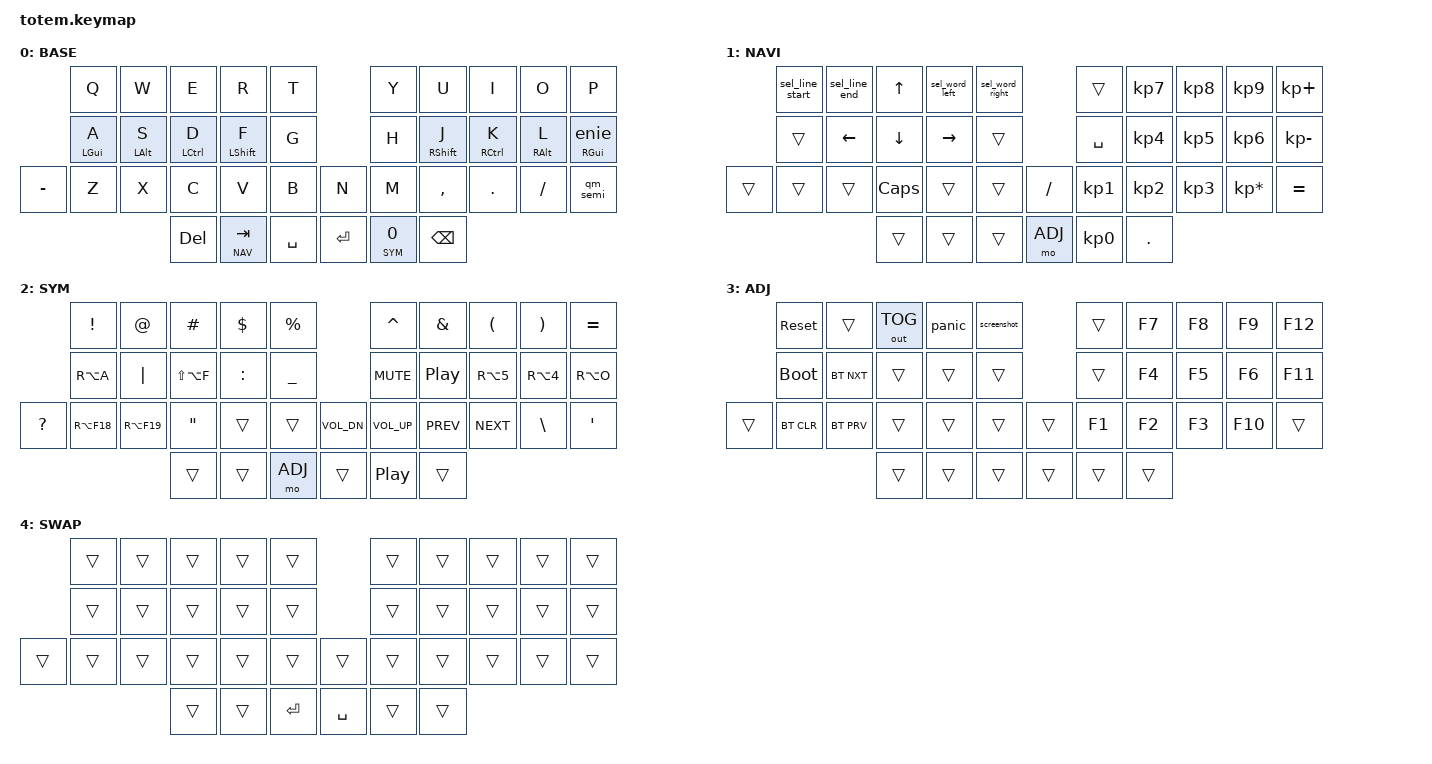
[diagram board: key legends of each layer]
//
//                                                         ▀▀▀▀▀     ▀▀▀▀▀          ▀▀█▀▀
//                                                         ▄▀▀▀▄  ▄  ▄▀▀▀▄  ▄  ▄▀▀▀▄  █  ▄▀▀▀▄
//                                                         █   █  █  █   █  █  █   █  █  █   █
//                                                          ▀▀▀   █   ▀▀▀   █   ▀▀▀   ▀   ▀▀▀
//                                                                █      ▄▄▄█▄▄▄    █   █  
//                                                                ▀      █  █  █     █▄█
//                                                              ▀▀▀▀▀    █  █  █      ▀
//                                                                       ▀  ▀  ▀
//
// ▄▄▄▄▄▄▄▄▄▄▄▄▄▄▄▄▄▄▄▄▄▄▄▄▄▄▄▄▄▄▄▄▄▄▄▄▄▄▄▄▄▄▄▄▄▄▄▄▄▄▄▄▄▄▄▄▄▄▄▄▄▄▄▄▄▄▄▄▄▄▄▄▄▄▄▄▄▄▄▄▄▄▄▄▄▄▄▄▄▄▄▄▄▄▄▄▄▄▄▄▄▄▄▄▄▄▄▄▄▄▄▄▄▄▄▄▄▄▄▄▄▄▄▄▄▄▄▄▄▄▄▄▄▄▄▄▄▄▄▄▄▄▄▄▄▄▄▄▄
#include <behaviors.dtsi>
#include <dt-bindings/zmk/bt.h>
#include <dt-bindings/zmk/keys.h>
#include <dt-bindings/zmk/outputs.h>

#define BASE 0
#define NAV  1
#define SYM  2
#define ADJ  3
#define SWAP 4

&mt {
    quick-tap-ms = <150>;
    global-quick-tap;
    flavor = "tap-preferred";
    tapping-term-ms = <220>;
};

/ {
    behaviors {
        qm_semi: question_semicolon {
            compatible = "zmk,behavior-mod-morph";
            #binding-cells = <0>;
            bindings = <&kp QUESTION>, <&kp SEMI>;
            mods = <(MOD_LSFT|MOD_RSFT)>;
        };

        enie_cmd: enie_command {
            compatible = "zmk,behavior-hold-tap";
            #binding-cells = <2>;
            flavor = "tap-preferred";
            tapping-term-ms = <220>;
            quick-tap-ms = <150>;
            bindings = <&kp>, <&enie>;
        };
    };

    combos {
        compatible = "zmk,combos";

        combo_esc {
            timeout-ms = <50>;
            key-positions = <0 1>;
            bindings = <&kp ESC>;
        };

        bacskpace {
            bindings = <&kp BACKSPACE>;
            key-positions = <9 8>;
        };

        l-brace {
            bindings = <&kp LBRC>; // English layout: direct { keycode
            key-positions = <1 2 3>;
        };

        r-brace {
            bindings = <&kp RBRC>; // English layout: direct } keycode
            key-positions = <6 7 8>;
        };

        l-bracket {
            bindings = <&kp LBKT>; // English layout: direct [ keycode
            key-positions = <11 12 13>;
        };

        r-bracket {
            bindings = <&kp RBKT>; // English layout: direct ] keycode
            key-positions = <16 17 18>;
        };

        l-parenth {
            bindings = <&kp LPAR>; // English layout: direct ( keycode
            key-positions = <22 23 24>;
        };

        r-parenth {
            bindings = <&kp RPAR>; // English layout: direct ) keycode
            key-positions = <27 28 29>;
        };

        // JavaScript symbols - frequent use
        js-backtick {
            bindings = <&kp GRAVE>; // ` for template literals
            key-positions = <1 2>; // W+E combo  
        };

        acute_combo {
            bindings = <&acute>;
            key-positions = <2 3>; // E+R combo for ´ (acute accent)
            timeout-ms = <25>;
            layers = <0>;
        };

        cmd_apos_combo {
            bindings = <&kp LG(APOS)>; // Command + ' 
            key-positions = <35 36>; // ENTER + SYM/0 combo on thumb cluster
            timeout-ms = <50>;
        };

        toggle_swap {
            bindings = <&tog SWAP>;
            key-positions = <32 37>; // DEL + BSPC to toggle SPACE/RETURN swap
            timeout-ms = <50>;
        };

        opt_shift_f {
            bindings = <&kp LS(LA(F))>;
            key-positions = <12 36>; // D + SYM/0 combo
            timeout-ms = <50>;
        };
    };

    macros {
        // NOTE: gif macro commented out - has bug (releases LSHFT instead of LALT)
        // gif: gif {
        //     label = "giphy";
        //     compatible = "zmk,behavior-macro";
        //     #binding-cells = <0>;
        //     bindings =
        //         <&macro_press>,
        //         <&kp LALT>,
        //         <&macro_tap>,
        //         <&kp TILDE>,
        //         <&macro_release>,
        //         <&kp LSHFT>,
        //         <&macro_tap>,
        //         <&kp G &kp I &kp F>;
        // };

        enie: enie {
            compatible = "zmk,behavior-macro";
            #binding-cells = <0>;
            bindings =
                <&macro_press>,
                <&kp LALT>,
                <&macro_tap>,
                <&kp N>,
                <&macro_release>,
                <&kp LALT>,
                <&macro_tap>,
                <&kp N>;
            label = "ENIE";
        };

        acute: acute_accent {
            compatible = "zmk,behavior-macro";
            #binding-cells = <0>;
            wait-ms = <0>;
            tap-ms = <0>;
            bindings =
                <&macro_press>,
                <&kp RALT>,
                <&macro_tap>,
                <&kp E>,
                <&macro_release>,
                <&kp RALT>;
            label = "ACUTE_ACCENT";
        };

        screenshot: screenshot {
            compatible = "zmk,behavior-macro";
            #binding-cells = <0>;
            wait-ms = <10>;
            tap-ms = <10>;
            bindings =
                <&macro_press>,
                <&kp LGUI &kp LSHFT>,
                <&macro_tap>,
                <&kp N5>,
                <&macro_release>,
                <&kp LGUI &kp LSHFT>;
            label = "SCREENSHOT";
        };

        panic: panic {
            compatible = "zmk,behavior-macro";
            #binding-cells = <0>;
            bindings =
                <&macro_release>,
                <&kp LGUI &kp LALT &kp LCTRL &kp LSHFT>;
            label = "PANIC";
        };

        sel_word_left: select_word_left {
            compatible = "zmk,behavior-macro";
            #binding-cells = <0>;
            wait-ms = <10>;
            tap-ms = <10>;
            bindings =
                <&macro_press>,
                <&kp LSHFT &kp LALT>,
                <&macro_tap>,
                <&kp LEFT>,
                <&macro_release>,
                <&kp LSHFT &kp LALT>;
            label = "SELECT_WORD_LEFT";
        };

        sel_word_right: select_word_right {
            compatible = "zmk,behavior-macro";
            #binding-cells = <0>;
            wait-ms = <10>;
            tap-ms = <10>;
            bindings =
                <&macro_press>,
                <&kp LSHFT &kp LALT>,
                <&macro_tap>,
                <&kp RIGHT>,
                <&macro_release>,
                <&kp LSHFT &kp LALT>;
            label = "SELECT_WORD_RIGHT";
        };

        sel_line_start: select_to_line_start {
            compatible = "zmk,behavior-macro";
            #binding-cells = <0>;
            wait-ms = <10>;
            tap-ms = <10>;
            bindings =
                <&macro_press>,
                <&kp LSHFT &kp LGUI>,
                <&macro_tap>,
                <&kp LEFT>,
                <&macro_release>,
                <&kp LSHFT &kp LGUI>;
            label = "SELECT_LINE_START";
        };

        sel_line_end: select_to_line_end {
            compatible = "zmk,behavior-macro";
            #binding-cells = <0>;
            wait-ms = <10>;
            tap-ms = <10>;
            bindings =
                <&macro_press>,
                <&kp LSHFT &kp LGUI>,
                <&macro_tap>,
                <&kp RIGHT>,
                <&macro_release>,
                <&kp LSHFT &kp LGUI>;
            label = "SELECT_LINE_END";
        };
    };

    keymap {
        compatible = "zmk,keymap";

        // ▄▄▄▄▄▄▄▄▄▄▄▄▄▄▄▄▄▄▄▄▄▄▄▄▄▄▄▄▄▄▄▄▄▄▄▄▄▄▄▄▄▄▄▄▄▄▄▄▄▄▄▄▄▄▄▄▄▄▄▄▄▄▄▄▄▄▄▄▄▄▄▄▄▄▄▄▄▄▄▄▄▄▄▄▄▄▄▄▄▄▄▄▄▄▄▄▄▄▄▄▄▄▄▄▄▄▄▄▄▄▄▄▄▄▄▄▄▄▄▄▄▄▄▄▄▄▄▄▄▄▄▄▄▄▄▄▄▄▄▄▄▄▄▄▄▄▄▄▄

        base_layer {
            // ┏━━━━━━━━━━━━━━━━━━━━━━━━━━━━━━━━━━━━━━━┓
            label = "BASE";
            // ┗━━━━━━━━━━━━━━━━━━━━━━━━━━━━━━━━━━━━━━━┛
            //             ┏━━━━━━━━━━━┳━━━━━━━━━━━┳━━━━━━━━━━━┳━━━━━━━━━━━┳━━━━━━━━━━━┓   ┏━━━━━━━━━━━┳━━━━━━━━━━━┳━━━━━━━━━━━┳━━━━━━━━━━━┳━━━━━━━━━━━┓
            //             ┃     Q     ┃     W     ┃     E     ┃     R     ┃     T     ┃   ┃     Y     ┃     U     ┃     I     ┃     O     ┃     P     ┃
            //             ┣━━━━━━━━━━━╋━━━━━━━━━━━╋━━━━━━━━━━━╋━━━━━━━━━━━╋━━━━━━━━━━━┫   ┣━━━━━━━━━━━╋━━━━━━━━━━━╋━━━━━━━━━━━╋━━━━━━━━━━━╋━━━━━━━━━━━┫
            //             ┃  GUI/A    ┃  ALT/S    ┃  CTL/D    ┃  SFT/F    ┃     G     ┃   ┃     H     ┃  SFT/J    ┃  CTL/K    ┃  ALT/L    ┃  CMD/Ñ    ┃
            // ┏━━━━━━━━━━━╋━━━━━━━━━━━╋━━━━━━━━━━━╋━━━━━━━━━━━╋━━━━━━━━━━━╋━━━━━━━━━━━┫   ┣━━━━━━━━━━━╋━━━━━━━━━━━╋━━━━━━━━━━━╋━━━━━━━━━━━╋━━━━━━━━━━━╋━━━━━━━━━━━┓
            // ┃     -     ┃     Z     ┃     X     ┃     C     ┃     V     ┃     B     ┃   ┃     N     ┃     M     ┃     ,     ┃     .     ┃     /     ┃   ? / ;   ┃
            // ┗━━━━━━━━━━━┻━━━━━━━━━━━┻━━━━━━━━━━━╋━━━━━━━━━━━╋━━━━━━━━━━━╋━━━━━━━━━━━┫   ┣━━━━━━━━━━━╋━━━━━━━━━━━╋━━━━━━━━━━━╋━━━━━━━━━━━┻━━━━━━━━━━━┻━━━━━━━━━━━┛
            //                                     ┃    DEL    ┃  NAV/TAB  ┃    SPC    ┃   ┃   ENTER   ┃   SYM/0   ┃   BSPC    ┃
            //                                     ┗━━━━━━━━━━━┻━━━━━━━━━━━┻━━━━━━━━━━━┛   ┗━━━━━━━━━━━┻━━━━━━━━━━━┻━━━━━━━━━━━┛

            bindings = <
           &kp Q       &kp W           &kp E        &kp R        &kp T        &kp Y    &kp U              &kp I        &kp O                &kp P
           &mt LGUI A  &mt LEFT_ALT S  &mt LCTRL D  &mt LSHFT F  &kp G        &kp H    &mt RSHFT J        &mt RCTRL K  &mt RALT L           &enie_cmd RGUI 0
&kp MINUS  &kp Z       &kp X           &kp C        &kp V        &kp B        &kp N    &kp M              &kp COMMA    &kp DOT     &kp FSLH  &qm_semi
                                       &kp DEL      &lt NAV TAB  &kp SPACE    &kp RET  &lt SYM NUMBER_0  &kp BSPC
            >;
        };

        // ▄▄▄▄▄▄▄▄▄▄▄▄▄▄▄▄▄▄▄▄▄▄▄▄▄▄▄▄▄▄▄▄▄▄▄▄▄▄▄▄▄▄▄▄▄▄▄▄▄▄▄▄▄▄▄▄▄▄▄▄▄▄▄▄▄▄▄▄▄▄▄▄▄▄▄▄▄▄▄▄▄▄▄▄▄▄▄▄▄▄▄▄▄▄▄▄▄▄▄▄▄▄▄▄▄▄▄▄▄▄▄▄▄▄▄▄▄▄▄▄▄▄▄▄▄▄▄▄▄▄▄▄▄▄▄▄▄▄▄▄▄▄▄▄▄▄▄▄▄

        nav_layer {
            // ┏━━━━━━━━━━━━━━━━━━━━━━━━━━━━━━━━━━━━━━━┓
            label = "NAVI";
            // ┗━━━━━━━━━━━━━━━━━━━━━━━━━━━━━━━━━━━━━━━┛
            //             ┏━━━━━━━━━━━┳━━━━━━━━━━━┳━━━━━━━━━━━┳━━━━━━━━━━━┳━━━━━━━━━━━┓   ┏━━━━━━━━━━━┳━━━━━━━━━━━┳━━━━━━━━━━━┳━━━━━━━━━━━┳━━━━━━━━━━━┓
            //             ┃  SEL LIN  ┃  SEL LIN  ┃     UP    ┃  SEL WRD  ┃  SEL WRD  ┃   ┃   TRANS   ┃     7     ┃     8     ┃     9     ┃  KP_PLUS  ┃
            //             ┃   START   ┃    END    ┃           ┃   LEFT    ┃   RIGHT   ┃   ┃           ┃           ┃           ┃           ┃           ┃
            //             ┣━━━━━━━━━━━╋━━━━━━━━━━━╋━━━━━━━━━━━╋━━━━━━━━━━━╋━━━━━━━━━━━┫   ┣━━━━━━━━━━━╋━━━━━━━━━━━╋━━━━━━━━━━━╋━━━━━━━━━━━╋━━━━━━━━━━━┫
            //             ┃   TRANS   ┃   LEFT    ┃    DOWN   ┃   RIGHT   ┃   TRANS   ┃   ┃   SPACE   ┃     4     ┃     5     ┃     6     ┃ KP_MINUS  ┃
            // ┏━━━━━━━━━━━╋━━━━━━━━━━━╋━━━━━━━━━━━╋━━━━━━━━━━━╋━━━━━━━━━━━╋━━━━━━━━━━━┫   ┣━━━━━━━━━━━╋━━━━━━━━━━━╋━━━━━━━━━━━╋━━━━━━━━━━━╋━━━━━━━━━━━╋━━━━━━━━━━━┓
            // ┃   TRANS   ┃   TRANS   ┃   TRANS   ┃   CAPS    ┃   TRANS   ┃   TRANS   ┃   ┃     /     ┃     1     ┃     2     ┃     3     ┃KP_MULTIPLY┃     =     ┃
            // ┗━━━━━━━━━━━┻━━━━━━━━━━━┻━━━━━━━━━━━╋━━━━━━━━━━━╋━━━━━━━━━━━╋━━━━━━━━━━━┫   ┣━━━━━━━━━━━╋━━━━━━━━━━━╋━━━━━━━━━━━╋━━━━━━━━━━━┻━━━━━━━━━━━┻━━━━━━━━━━━┛
            //                                     ┃   TRANS   ┃   TRANS   ┃   TRANS   ┃   ┃  ADJ LYR  ┃     0     ┃     .     ┃
            //                                     ┗━━━━━━━━━━━┻━━━━━━━━━━━┻━━━━━━━━━━━┛   ┗━━━━━━━━━━━┻━━━━━━━━━━━┻━━━━━━━━━━━┛

            bindings = <
        &sel_line_start  &sel_line_end  &kp UP    &sel_word_left  &sel_word_right    &trans     &kp KP_N7  &kp KP_N8  &kp KP_N9  &kp KP_PLUS
        &trans           &kp LEFT       &kp DOWN  &kp RIGHT       &trans             &kp SPACE  &kp KP_N4  &kp KP_N5  &kp KP_N6  &kp KP_MINUS
&trans  &trans           &trans         &kp CAPS  &trans          &trans             &kp FSLH   &kp KP_N1  &kp KP_N2  &kp KP_N3  &kp KP_MULTIPLY  &kp EQUAL
                                        &trans    &trans          &trans             &mo ADJ    &kp KP_N0  &kp DOT
            >;
        };

        // ▄▄▄▄▄▄▄▄▄▄▄▄▄▄▄▄▄▄▄▄▄▄▄▄▄▄▄▄▄▄▄▄▄▄▄▄▄▄▄▄▄▄▄▄▄▄▄▄▄▄▄▄▄▄▄▄▄▄▄▄▄▄▄▄▄▄▄▄▄▄▄▄▄▄▄▄▄▄▄▄▄▄▄▄▄▄▄▄▄▄▄▄▄▄▄▄▄▄▄▄▄▄▄▄▄▄▄▄▄▄▄▄▄▄▄▄▄▄▄▄▄▄▄▄▄▄▄▄▄▄▄▄▄▄▄▄▄▄▄▄▄▄▄▄▄▄▄▄▄

        sym_layer {
            // ┏━━━━━━━━━━━━━━━━━━━━━━━━━━━━━━━━━━━━━━━┓
            label = "SYM";
            // ┗━━━━━━━━━━━━━━━━━━━━━━━━━━━━━━━━━━━━━━━┛
            //             ┏━━━━━━━━━━━┳━━━━━━━━━━━┳━━━━━━━━━━━┳━━━━━━━━━━━┳━━━━━━━━━━━┓   ┏━━━━━━━━━━━┳━━━━━━━━━━━┳━━━━━━━━━━━┳━━━━━━━━━━━┳━━━━━━━━━━━┓
            //             ┃     !     ┃     @     ┃     #     ┃     $     ┃     %     ┃   ┃     ^     ┃     &     ┃     (     ┃     )     ┃     =     ┃
            //             ┣━━━━━━━━━━━╋━━━━━━━━━━━╋━━━━━━━━━━━╋━━━━━━━━━━━╋━━━━━━━━━━━┫   ┣━━━━━━━━━━━╋━━━━━━━━━━━╋━━━━━━━━━━━╋━━━━━━━━━━━╋━━━━━━━━━━━┫
            //             ┃     Ä     ┃     |     ┃     ß     ┃     :     ┃     _     ┃   ┃   MUTE    ┃  PLAY/PS  ┃    EUR    ┃    GBP    ┃     Ö     ┃
            // ┏━━━━━━━━━━━╋━━━━━━━━━━━╋━━━━━━━━━━━╋━━━━━━━━━━━╋━━━━━━━━━━━╋━━━━━━━━━━━┫   ┣━━━━━━━━━━━╋━━━━━━━━━━━╋━━━━━━━━━━━╋━━━━━━━━━━━╋━━━━━━━━━━━╋━━━━━━━━━━━┓
            // ┃     ?     ┃  EMAIL1   ┃  EMAIL2   ┃     "     ┃   TRANS   ┃   TRANS   ┃   ┃   VOL-    ┃   VOL+    ┃   PREV    ┃   NEXT    ┃     \     ┃     '     ┃
            // ┗━━━━━━━━━━━┻━━━━━━━━━━━┻━━━━━━━━━━━╋━━━━━━━━━━━╋━━━━━━━━━━━╋━━━━━━━━━━━┫   ┣━━━━━━━━━━━╋━━━━━━━━━━━╋━━━━━━━━━━━╋━━━━━━━━━━━┻━━━━━━━━━━━┻━━━━━━━━━━━┛
            //                                     ┃   TRANS   ┃   TRANS   ┃  ADJ LYR  ┃   ┃   TRANS   ┃  PLAY/PS  ┃   TRANS   ┃
            //                                     ┗━━━━━━━━━━━┻━━━━━━━━━━━┻━━━━━━━━━━━┛   ┗━━━━━━━━━━━┻━━━━━━━━━━━┻━━━━━━━━━━━┛

            bindings = <
              &kp EXCL     &kp AT       &kp HASH       &kp DLLR   &kp PRCNT    &kp CARET     &kp AMPS          &kp LEFT_PARENTHESIS  &kp RIGHT_PARENTHESIS  &kp EQUAL
              &kp RA(A)    &kp PIPE     &kp LS(LA(F))  &kp COLON  &kp UNDER    &kp C_MUTE    &kp C_PLAY_PAUSE  &kp RA(N5)            &kp RA(N4)             &kp RA(O)
&kp QUESTION  &kp RA(F18)  &kp RA(F19)  &kp DQT        &trans     &trans       &kp C_VOL_DN  &kp C_VOL_UP      &kp C_PREV            &kp C_NEXT             &kp BSLH   &kp APOS
                                        &trans         &trans     &mo ADJ      &trans        &kp C_PP          &trans
            >;
        };

        // ▄▄▄▄▄▄▄▄▄▄▄▄▄▄▄▄▄▄▄▄▄▄▄▄▄▄▄▄▄▄▄▄▄▄▄▄▄▄▄▄▄▄▄▄▄▄▄▄▄▄▄▄▄▄▄▄▄▄▄▄▄▄▄▄▄▄▄▄▄▄▄▄▄▄▄▄▄▄▄▄▄▄▄▄▄▄▄▄▄▄▄▄▄▄▄▄▄▄▄▄▄▄▄▄▄▄▄▄▄▄▄▄▄▄▄▄▄▄▄▄▄▄▄▄▄▄▄▄▄▄▄▄▄▄▄▄▄▄▄▄▄▄▄▄▄▄▄▄▄

        adjust_layer {
            // ┏━━━━━━━━━━━━━━━━━━━━━━━━━━━━━━━━━━━━━━━┓
            label = "ADJ";
            // ┗━━━━━━━━━━━━━━━━━━━━━━━━━━━━━━━━━━━━━━━┛
            //             ┏━━━━━━━━━━━┳━━━━━━━━━━━┳━━━━━━━━━━━┳━━━━━━━━━━━┳━━━━━━━━━━━┓   ┏━━━━━━━━━━━┳━━━━━━━━━━━┳━━━━━━━━━━━┳━━━━━━━━━━━┳━━━━━━━━━━━┓
            //             ┃ SYS RESET ┃   TRANS   ┃  OUT TOG  ┃   PANIC   ┃ SCRN SHOT ┃   ┃   TRANS   ┃    F7     ┃    F8     ┃    F9     ┃    F12    ┃
            //             ┣━━━━━━━━━━━╋━━━━━━━━━━━╋━━━━━━━━━━━╋━━━━━━━━━━━╋━━━━━━━━━━━┫   ┣━━━━━━━━━━━╋━━━━━━━━━━━╋━━━━━━━━━━━╋━━━━━━━━━━━╋━━━━━━━━━━━┫
            //             ┃ BOOTLOAD  ┃  BT NEXT  ┃   TRANS   ┃   TRANS   ┃   TRANS   ┃   ┃   TRANS   ┃    F4     ┃    F5     ┃    F6     ┃    F11    ┃
            // ┏━━━━━━━━━━━╋━━━━━━━━━━━╋━━━━━━━━━━━╋━━━━━━━━━━━╋━━━━━━━━━━━╋━━━━━━━━━━━┫   ┣━━━━━━━━━━━╋━━━━━━━━━━━╋━━━━━━━━━━━╋━━━━━━━━━━━╋━━━━━━━━━━━╋━━━━━━━━━━━┓
            // ┃   TRANS   ┃ BT CLEAR  ┃  BT PREV  ┃   TRANS   ┃   TRANS   ┃   TRANS   ┃   ┃   TRANS   ┃    F1     ┃    F2     ┃    F3     ┃    F10    ┃   TRANS   ┃
            // ┗━━━━━━━━━━━┻━━━━━━━━━━━┻━━━━━━━━━━━╋━━━━━━━━━━━╋━━━━━━━━━━━╋━━━━━━━━━━━┫   ┣━━━━━━━━━━━╋━━━━━━━━━━━╋━━━━━━━━━━━╋━━━━━━━━━━━┻━━━━━━━━━━━┻━━━━━━━━━━━┛
            //                                     ┃   TRANS   ┃   TRANS   ┃   TRANS   ┃   ┃   TRANS   ┃   TRANS   ┃   TRANS   ┃
            //                                     ┗━━━━━━━━━━━┻━━━━━━━━━━━┻━━━━━━━━━━━┛   ┗━━━━━━━━━━━┻━━━━━━━━━━━┻━━━━━━━━━━━┛

            bindings = <
        &sys_reset   &trans      &out OUT_TOG  &panic  &screenshot    &trans  &kp F7  &kp F8  &kp F9  &kp F12
        &bootloader  &bt BT_NXT  &trans        &trans  &trans         &trans  &kp F4  &kp F5  &kp F6  &kp F11
&trans  &bt BT_CLR   &bt BT_PRV  &trans        &trans  &trans         &trans  &kp F1  &kp F2  &kp F3  &kp F10  &trans
                                 &trans        &trans  &trans    &trans  &trans  &trans
            >;
        };

        // ▄▄▄▄▄▄▄▄▄▄▄▄▄▄▄▄▄▄▄▄▄▄▄▄▄▄▄▄▄▄▄▄▄▄▄▄▄▄▄▄▄▄▄▄▄▄▄▄▄▄▄▄▄▄▄▄▄▄▄▄▄▄▄▄▄▄▄▄▄▄▄▄▄▄▄▄▄▄▄▄▄▄▄▄▄▄▄▄▄▄▄▄▄▄▄▄▄▄▄▄▄▄▄▄▄▄▄▄▄▄▄▄▄▄▄▄▄▄▄▄▄▄▄▄▄▄▄▄▄▄▄▄▄▄▄▄▄▄▄▄▄▄▄▄▄▄▄▄▄

        swap_layer {
            // ┏━━━━━━━━━━━━━━━━━━━━━━━━━━━━━━━━━━━━━━━┓
            label = "SWAP";
            // ┗━━━━━━━━━━━━━━━━━━━━━━━━━━━━━━━━━━━━━━━┛
            // TEST LAYER: Swaps SPACE (pos 34) and RETURN (pos 35)
            // Toggle with DEL + BSPC combo
            // All other keys fall through to BASE layer

            bindings = <
        &trans  &trans  &trans  &trans  &trans    &trans  &trans  &trans  &trans  &trans
        &trans  &trans  &trans  &trans  &trans    &trans  &trans  &trans  &trans  &trans
&trans  &trans  &trans  &trans  &trans  &trans    &trans  &trans  &trans  &trans  &trans  &trans
                        &trans  &trans  &kp RET   &kp SPACE  &trans  &trans
            >;
        };
    };
};
